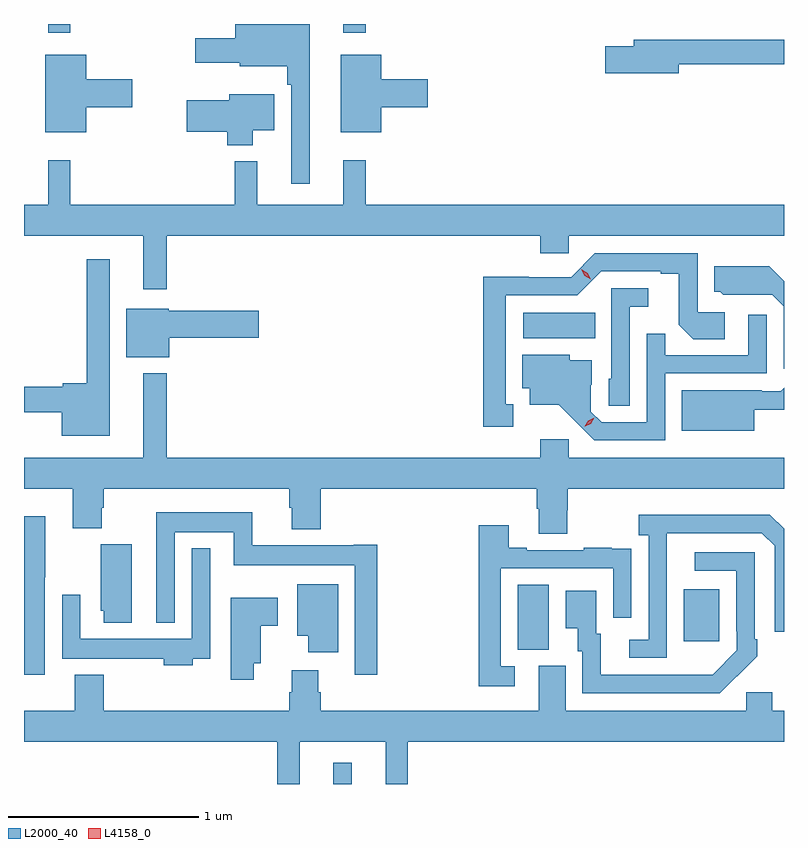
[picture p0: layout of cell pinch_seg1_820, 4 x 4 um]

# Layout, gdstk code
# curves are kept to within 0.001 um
import gdstk
lib = gdstk.Library(unit=1e-6, precision=1e-09)
def R(c, l, rs):  # rectangles x0, y0, x1, y1
    for r in rs: c.add(gdstk.rectangle(r[:2], r[2:], *l))
def P(c, l, *ps):  # polygons
    for p in ps: c.add(gdstk.Polygon(p, *l))
L2000_40 = (2000, 40)
L4158_0 = (4158, 0)

pinch_seg1_820 = lib.new_cell('pinch_seg1_820')
R(pinch_seg1_820, L2000_40, [(483.585,558.17,483.682,558.283), (484.556,558.877,484.72,559.22), (485.429,558.921,485.617,559.195), (484.584,560.516,484.964,560.65), (482.084,562.125,482.201,562.17), (483.638,562.125,483.755,562.17)])
P(pinch_seg1_820, L2000_40, [(483.46,562.17),(483.07,562.17),(483.07,562.095),(482.859,562.095),(482.859,561.965),(483.093,561.965),(483.093,561.947),(483.343,561.947),(483.343,561.851),(483.363,561.851),(483.363,561.33),(483.46,561.33)],
  [(485.404,561.958),(485.957,561.958),(485.957,562.087),(485.165,562.087),(485.165,562.053),(485.016,562.053),(485.016,561.911),(485.404,561.911)],
  [(483.838,561.731),(484.081,561.731),(484.081,561.878),(483.838,561.878),(483.838,562.009),(483.623,562.009),(483.623,561.599),(483.838,561.599)],
  [(482.284,561.731),(482.527,561.731),(482.527,561.878),(482.284,561.878),(482.284,562.009),(482.069,562.009),(482.069,561.599),(482.284,561.599)],
  [(483.16,561.611),(483.274,561.611),(483.274,561.799),(483.038,561.799),(483.038,561.769),(482.814,561.769),(482.814,561.604),(483.026,561.604),(483.026,561.533),(483.16,561.533)],
  [(482.707,561.056),(484.673,561.056),(484.673,560.963),(484.824,560.963),(484.824,561.056),(485.957,561.056),(485.957,561.22),(483.755,561.22),(483.755,561.454),(483.638,561.454),(483.638,561.22),(483.185,561.22),(483.185,561.448),(483.067,561.448),(483.067,561.22),(482.201,561.22),(482.201,561.454),(482.084,561.454),(482.084,561.22),(481.957,561.22),(481.957,561.056),(482.585,561.056),(482.585,560.775),(482.707,560.775)],
  [(484.531,560.169),(484.492,560.169),(484.492,560.742),(484.869,560.742),(484.995,560.868),(485.309,560.868),(485.309,560.856),(485.403,560.856),(485.403,560.588),(485.479,560.512),(485.644,560.512),(485.644,560.652),(485.502,560.652),(485.502,560.964),(484.962,560.964),(484.836,560.838),(484.614,560.838),(484.614,560.84),(484.374,560.84),(484.374,560.049),(484.531,560.049)],
  [(482.407,560.932),(482.286,560.932),(482.286,560.279),(482.16,560.279),(482.16,560.261),(481.957,560.261),(481.957,560.126),(482.156,560.126),(482.156,560.003),(482.407,560.003)],
  [(485.957,560.817),(485.879,560.896),(485.591,560.896),(485.591,560.76),(485.622,560.76),(485.638,560.744),(485.772,560.744),(485.772,560.745),(485.895,560.745),(485.955,560.685),(485.955,560.356),(485.957,560.356)],
  [(485.145,560.681),(485.242,560.681),(485.242,560.778),(485.049,560.778),(485.049,560.304),(485.034,560.304),(485.034,560.161),(485.145,560.161)],
  [(482.722,560.519),(483.193,560.519),(483.193,560.661),(482.718,560.661),(482.718,560.671),(482.495,560.671),(482.495,560.417),(482.722,560.417)],
  [(485.331,560.331),(485.865,560.331),(485.865,560.641),(485.769,560.641),(485.769,560.427),(485.333,560.427),(485.333,560.54),(485.235,560.54),(485.235,560.073),(484.998,560.073),(484.941,560.13),(484.941,560.272),(484.945,560.272),(484.945,560.401),(484.83,560.401),(484.83,560.428),(484.58,560.428),(484.58,560.252),(484.619,560.252),(484.619,560.165),(484.771,560.165),(484.958,559.98),(485.331,559.98)],
  [(484.815,559.611),(484.82,559.611),(484.82,559.724),(485.957,559.724),(485.957,559.888),(484.824,559.888),(484.824,559.984),(484.673,559.984),(484.673,559.888),(482.707,559.888),(482.707,560.332),(482.585,560.332),(482.585,559.888),(481.957,559.888),(481.957,559.724),(482.213,559.724),(482.213,559.516),(482.365,559.516),(482.365,559.625),(482.378,559.625),(482.378,559.724),(483.353,559.724),(483.353,559.623),(483.365,559.623),(483.365,559.511),(483.518,559.511),(483.518,559.724),(484.655,559.724),(484.655,559.618),(484.667,559.618),(484.667,559.486),(484.815,559.486)],
  [(485.8,560.141),(485.957,560.141),(485.957,560.255),(485.94,560.238),(485.84,560.238),(485.84,560.242),(485.42,560.242),(485.42,560.03),(485.8,560.03)],
  [(483.815,559.429),(483.692,559.429),(483.692,559.426),(483.158,559.426),(483.158,559.6),(482.654,559.6),(482.654,559.019),(482.751,559.019),(482.751,559.496),(483.06,559.496),(483.06,559.322),(483.699,559.322),(483.699,558.744),(483.815,558.744)],
  [(485.34,559.291),(485.341,559.491),(485.841,559.491),(485.907,559.425),(485.907,558.972),(485.957,558.972),(485.957,559.513),(485.882,559.588),(485.193,559.588),(485.193,559.478),(485.244,559.478),(485.244,558.93),(485.142,558.93),(485.142,558.834),(485.34,558.834)],
  [(482.067,559.258),(482.068,559.258),(482.068,559.579),(481.957,559.579),(481.957,558.744),(482.067,558.744)],
  [(484.54,558.789),(484.467,558.789),(484.467,559.305),(485.058,559.305),(485.058,559.044),(485.154,559.044),(485.154,559.298),(485.153,559.298),(485.153,559.407),(485.051,559.407),(485.051,559.414),(484.903,559.414),(484.903,559.401),(484.603,559.401),(484.603,559.414),(484.507,559.414),(484.507,559.531),(484.351,559.531),(484.351,558.684),(484.54,558.684)],
  [(482.524,559.431),(482.36,559.431),(482.36,559.083),(482.378,559.083),(482.378,559.02),(482.524,559.02)],
  [(482.845,558.828),(482.937,558.828),(482.937,559.411),(482.841,559.411),(482.841,558.934),(482.253,558.934),(482.253,559.165),(482.157,559.165),(482.157,558.83),(482.461,558.83),(482.461,558.828),(482.693,558.828),(482.693,558.794),(482.845,558.794)],
  [(485.711,558.739),(485.712,558.738),(485.817,558.843),(485.817,558.931),(485.802,558.931),(485.802,559.389),(485.487,559.389),(485.487,559.293),(485.706,559.293),(485.706,558.973),(485.709,558.973),(485.709,558.873),(485.581,558.745),(484.993,558.744),(484.993,558.96),(484.969,558.96),(484.969,559.186),(484.808,559.186),(484.808,558.989),(484.871,558.989),(484.871,558.87),(484.896,558.87),(484.896,558.648),(485.62,558.648)],
  [(483.61,559.222),(483.395,559.222),(483.395,558.95),(483.452,558.95),(483.452,558.864),(483.61,558.864)],
  [(483.166,558.806),(483.202,558.806),(483.202,559.003),(483.292,559.003),(483.292,559.15),(483.044,559.15),(483.044,558.72),(483.166,558.72)],
  [(483.407,558.392),(483.86,558.392),(483.86,558.17),(483.977,558.17),(483.977,558.392),(485.957,558.392),(485.957,558.556),(485.896,558.556),(485.896,558.654),(485.757,558.654),(485.757,558.556),(484.807,558.556),(484.807,558.792),(484.667,558.792),(484.667,558.556),(483.518,558.556),(483.518,558.654),(483.505,558.654),(483.505,558.769),(483.365,558.769),(483.365,558.654),(483.353,558.654),(483.353,558.556),(482.378,558.556),(482.378,558.745),(482.225,558.745),(482.225,558.556),(481.957,558.556),(481.957,558.392),(483.289,558.392),(483.289,558.17),(483.407,558.17)])
P(pinch_seg1_820, L4158_0, [(484.94,560.826),(484.908,560.845),(484.89,560.878),(484.89,560.878),(484.891,560.878),(484.923,560.859),(484.94,560.827),(484.94,560.826)],
  [(484.909,560.052),(484.909,560.052),(484.927,560.082),(484.957,560.097),(484.957,560.097),(484.957,560.097),(484.94,560.067),(484.91,560.052)])

lib.write_gds('pinch_seg1_820.gds')
